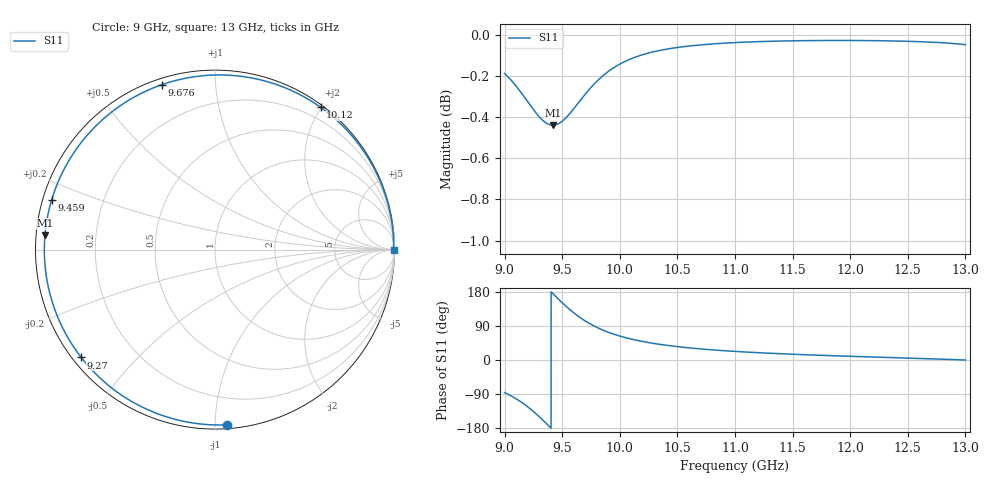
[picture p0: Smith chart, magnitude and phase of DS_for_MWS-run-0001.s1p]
! TOUCHSTONE file generated by CST DESIGN STUDIO
! Date and time: Tue Feb  4 13:17:33 2025
! Project name: C:\Work\MatlabApps\UnitCellOptimizationMatlab\CST\unitcell.cst
! Tree item: Tasks\Sweep1\SPara1\S-Parameters
! Header version: 2024
! Port assignment regex: !\s*Touchstone port\s*([0-9]+)\s*=\s*(CST MWS port|CST DES external port|CST DES block port)\s*(.+)\s* \(\"(.*)\"\)(\s*mode\s*([0-9]+))?.*
! Touchstone port assignment:
! Touchstone port 1 = CST DES external port 1 ("")
# GHz S MA R 50
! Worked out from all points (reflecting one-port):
!   4001 points, 9 GHz to 13 GHz, reference 50 ohm
!   lowest |S11| = -0.4 dB at 9.419 GHz (marker M1), VSWR 39.61, Z = 1.26 + j2.11 ohm
!   phase of S11 starts at -86 deg and turns -274 deg over the sweep
!   S11 on the Smith chart (normalised r, x): 9 GHz: 0.02, -1.07; 9.27 GHz: 0.02, -0.35; 9.459 GHz: 0.03, +0.15; 9.676 GHz: 0.03, +0.73; 10.12 GHz: 0.03, +1.99; 13 GHz: open
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9  0.9786 -86.0
9.08  0.9733 -98.7
9.148  0.9678 -111.8
9.21  0.9625 -125.8
9.27  0.9574 -141.1
9.312  0.9544 -152.8
9.349  0.9524 -163.7
9.384  0.9512 -174.2
9.419  0.9508 175.2
9.459  0.9513 163.1
9.5  0.9528 151.1
9.544  0.9554 138.9
9.587  0.9585 127.7
9.63  0.9619 117.6
9.676  0.9655 107.7
9.748  0.9709 94.4
9.834  0.9763 81.4
9.914  0.9804 71.7
10  0.9838 63.2
10.125  0.9874 53.4
10.294  0.9906 43.7
10.5  0.993 35.3
10.723  0.9945 28.7
11  0.9957 22.7
11.5  0.9967 15.2
12  0.9969 9.8
12.5  0.9964 5.1
13  0.9946 0.0
